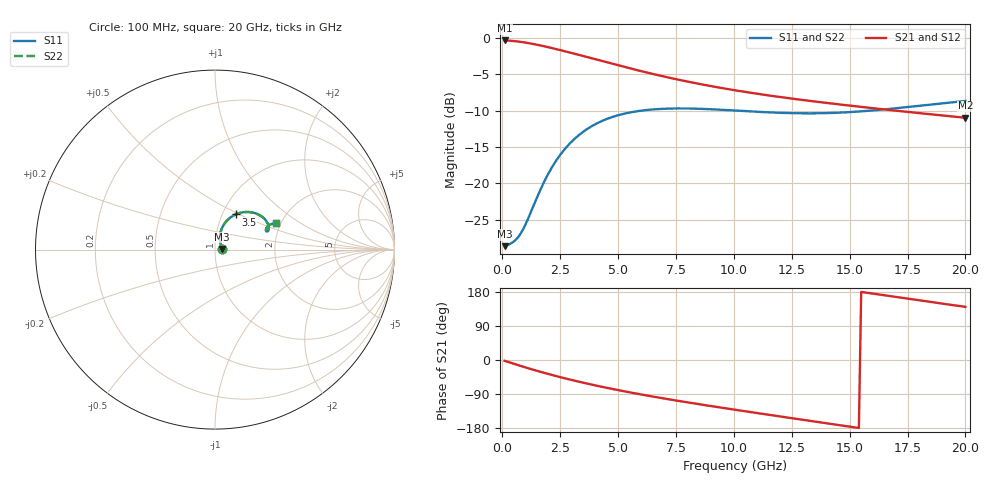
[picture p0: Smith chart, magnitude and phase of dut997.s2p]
! Touchstone file exported from HFSS 2024.1.0
!  File:  C:/UserFiles/LocalFiles/RDL_TSV_Batchsim/temp_RDL_TSV_997_1779976941.aedt
!  Generated:  10:20:38 PM May 28, 2026
!  Design:  RDL_TSV
!  Project:  temp_RDL_TSV_997_1779976941
!  Setup:  Setup1
!  Solution:  Sweep
! Variables:
!  dtsv = 12.34um
!  hbump = 3um
!  htsv = 78.09um
!  ldown = 646.22um
!  lrdl = 244.65um
!  p = 40
!  p1 = 49.03um
!  rhole = 10um
!  subl = 2917.26um
!  t = 450um
!  tdown = 2.1um
!  trdl = 3.32um
!  viad = 10um
!  wdown = 10.14um
!  wrdl = 16.73um
!  xbump = 18um
# GHz S MA R 50.000000
! Terminal data exported
! Port[1] = TM1_1_T1
! Port[2] = TM1_4_T1
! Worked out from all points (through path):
!   200 points, 100 MHz to 20 GHz, reference 50 ohm
!   highest |S21| = -0.33 dB at 100 MHz (marker M1); lowest = -11.0 dB at 20 GHz (marker M2)
!   group delay of S21, straight-line fit = 28.5 ps
!   lowest |S11| = -28.6 dB at 100 MHz (marker M3), VSWR 1.08, Z = 53.8 + j0.409 ohm
!   |S11| at or under -10 dB: start of sweep to 5.977 GHz; 10.22 GHz to 15.84 GHz (5.626 GHz wide, 43.2 % of centre)
!   |S22| runs from -28.6 to -8.7 dB; largest |S21 - S12| = 6.8e-14
!   S11 on the Smith chart (normalised r, x): 100 MHz: 1.08, +0.01; 3.5 GHz: 1.15, +0.48; 20 GHz: 1.89, +0.64
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0.1  0.037 5.9  0.9627 -2.0  0.9627 -2.0  0.037 5.9
! Gamma 0 0 0 0
! Port Impedance 50 0 50 0
0.5  0.0399 28.3  0.9536 -10.0  0.9536 -10.0  0.03991 28.3
0.8  0.04534 45.2  0.9412 -15.8  0.9412 -15.8  0.04535 45.2
1  0.05207 55.2  0.9308 -19.6  0.9308 -19.6  0.05207 55.1
1.3  0.06725 65.7  0.9128 -25.1  0.9128 -25.1  0.06724 65.7
1.7  0.09445 71.7  0.8858 -32.1  0.8858 -32.1  0.0944 71.7
2.1  0.1255 72.1  0.8567 -38.8  0.8567 -38.8  0.1254 72.0
2.5  0.1571 69.7  0.8267 -45.2  0.8267 -45.2  0.157 69.6
3  0.1943 65.0  0.789 -52.8  0.789 -52.8  0.1942 64.9
3.5  0.2271 59.6  0.7518 -60.0  0.7518 -60.0  0.2269 59.6
4.2  0.2642 52.3  0.702 -69.4  0.702 -69.4  0.264 52.2
5.1  0.2972 43.7  0.6434 -80.7  0.6434 -80.7  0.2969 43.7
5.9  0.315 37.3  0.5972 -89.9  0.5972 -89.9  0.3147 37.3
6.8  0.3252 31.4  0.552 -99.6  0.552 -99.6  0.3247 31.4
8.3  0.3269 24.4  0.4909 -114.7  0.4909 -114.7  0.3264 24.3
10.1  0.317 19.9  0.4359 -131.7  0.4359 -131.7  0.3164 19.9
11.7  0.3073 19.1  0.3989 -146.3  0.3989 -146.3  0.3066 19.1
13.4  0.3035 20.4  0.3676 -161.6  0.3676 -161.6  0.3028 20.4
15  0.3094 22.4  0.343 -175.9  0.343 -175.9  0.3088 22.4
16.7  0.3253 24.0  0.3203 169.0  0.3203 169.0  0.3248 24.1
18.4  0.3474 24.3  0.3 154.1  0.3 154.1  0.347 24.4
20  0.3693 23.3  0.2828 140.2  0.2828 140.2  0.369 23.4
